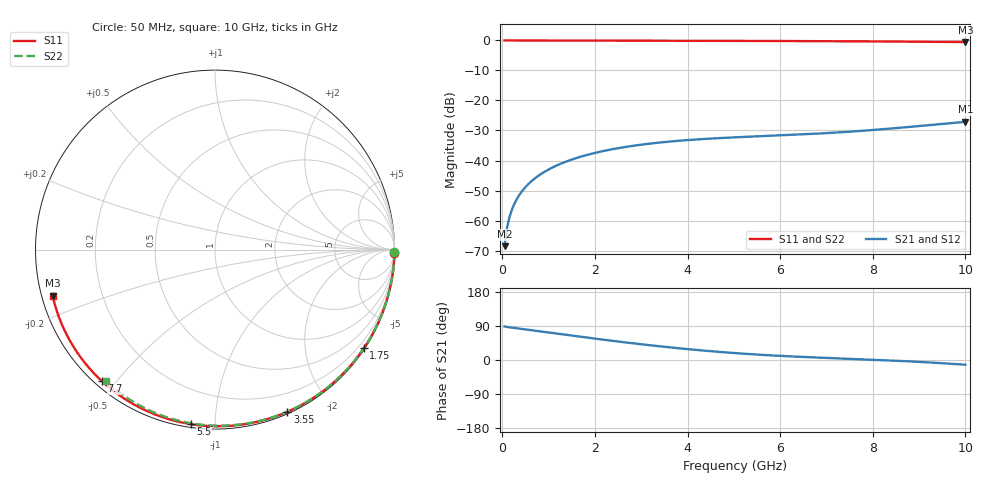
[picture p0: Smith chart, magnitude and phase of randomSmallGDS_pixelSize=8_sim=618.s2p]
! freq	dB(S11)	phase(S11)	dB(S12)	phase(S12)
!  dB(S21)	phase(S21)	dB(S22)	phase(S22)
!S-par simulation data
#  GHz  S  DB  R 50
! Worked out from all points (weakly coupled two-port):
!   200 points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, 50 MHz to 10 GHz, reference 50 ohm
!   highest |S21| = -27.11 dB at 10 GHz (marker M1); lowest = -68.5 dB at 50 MHz (marker M2)
!   lowest |S11| = -0.5 dB at 10 GHz (marker M3), VSWR 32.59, Z = 1.56 - j6.94 ohm
!   |S11| at or under -10 dB: nowhere
!   |S22| runs from -0.4 to 0.0 dB; largest |S21 - S12| = 0
!   S11 on the Smith chart (normalised r, x): 50 MHz: open; 1.75 GHz: 0.03, -3.31; 3.55 GHz: 0.02, -1.54; 5.5 GHz: 0.02, -0.87; 7.7 GHz: 0.02, -0.46; 10 GHz: 0.03, -0.14
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0.05  -0.00 -1.0  -68.54 88.5  -68.54 88.5  -0.00 -0.8
0.1  -0.00 -2.0  -62.60 87.2  -62.60 87.2  -0.00 -1.5
0.15  -0.00 -2.9  -59.14 86.3  -59.14 86.3  -0.00 -2.3
0.2  -0.00 -3.9  -56.69 85.5  -56.69 85.5  -0.00 -3.0
0.25  -0.00 -4.9  -54.79 84.7  -54.79 84.7  -0.00 -3.8
0.35  -0.01 -6.8  -51.92 83.2  -51.92 83.2  -0.00 -5.3
0.5  -0.01 -9.8  -48.86 80.8  -48.86 80.8  -0.01 -7.6
0.7  -0.02 -13.6  -45.99 77.6  -45.99 77.6  -0.01 -10.6
1  -0.02 -19.4  -42.99 72.6  -42.99 72.6  -0.02 -15.1
1.35  -0.03 -26.0  -40.53 66.8  -40.53 66.8  -0.03 -20.3
1.75  -0.04 -33.6  -38.48 60.4  -38.48 60.4  -0.03 -26.2
2.6  -0.06 -49.2  -35.63 47.3  -35.63 47.3  -0.05 -38.5
3.4  -0.08 -63.4  -34.01 36.1  -34.01 36.1  -0.07 -49.8
3.55  -0.09 -66.0  -33.78 34.2  -33.78 34.2  -0.07 -51.8
4.3  -0.11 -78.6  -32.88 25.3  -32.88 25.3  -0.09 -62.0
5.05  -0.14 -90.8  -32.26 18.0  -32.26 18.0  -0.11 -71.9
5.5  -0.16 -97.9  -31.96 14.3  -31.96 14.3  -0.13 -77.6
6.7  -0.22 -116.1  -31.13 7.0  -31.13 7.0  -0.18 -92.4
7.7  -0.30 -130.8  -30.18 2.3  -30.18 2.3  -0.24 -104.1
8.35  -0.35 -140.2  -29.40 -1.0  -29.40 -1.0  -0.28 -111.5
9.2  -0.44 -152.4  -28.25 -6.3  -28.25 -6.3  -0.35 -121.0
10  -0.53 -164.2  -27.11 -12.4  -27.11 -12.4  -0.43 -129.7
